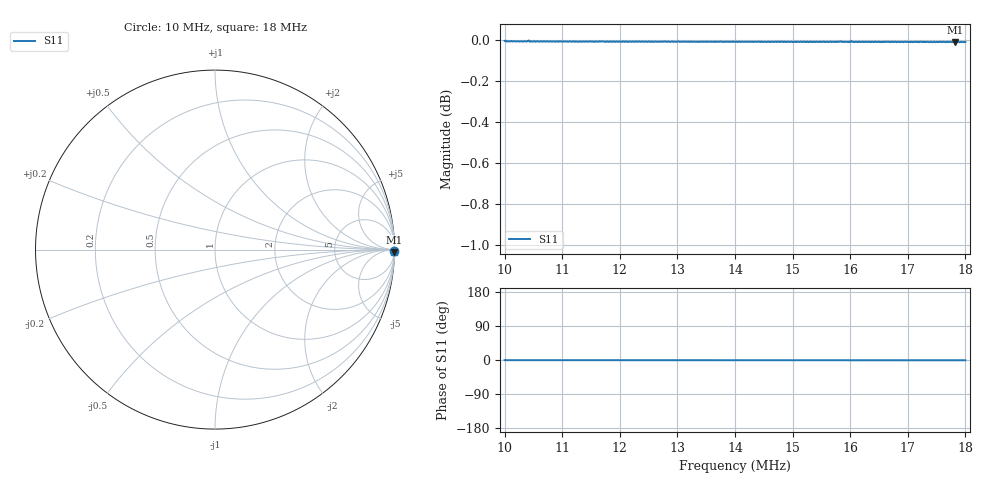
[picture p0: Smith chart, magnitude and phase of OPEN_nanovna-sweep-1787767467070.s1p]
! S11 from OPEN_nanovna-sweep-1787767467070.csv, converted by the rf-network-modeller history importer
# HZ S RI R 50
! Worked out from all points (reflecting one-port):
!   401 points, 10 MHz to 18 MHz, reference 50 ohm
!   lowest |S11| = 0.0 dB at 17.82 MHz (marker M1)
!   phase of S11 starts at -0 deg and turns -0 deg over the sweep
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1e7  0.9992 -0.00716
1.008e7  0.999 -0.00734
1.034e7  0.9991 -0.00725
1.038e7  0.999 -0.00726
1.052e7  0.9991 -0.00752
1.1e7  0.9989 -0.0077
1.158e7  0.999 -0.00808
1.168e7  0.999 -0.00825
1.178e7  0.9989 -0.00848
1.2e7  0.999 -0.00848
1.272e7  0.9988 -0.00894
1.294e7  0.9987 -0.0091
1.3e7  0.9989 -0.00909
1.31e7  0.9987 -0.00932
1.356e7  0.9987 -0.00954
1.378e7  0.9987 -0.00969
1.4e7  0.9987 -0.00986
1.5e7  0.9986 -0.0107
1.56e7  0.9987 -0.0112
1.578e7  0.9986 -0.0114
1.58e7  0.9988 -0.0112
1.594e7  0.9987 -0.0115
1.6e7  0.9986 -0.0116
1.606e7  0.9986 -0.0117
1.61e7  0.9988 -0.0115
1.7e7  0.9988 -0.0122
1.782e7  0.9985 -0.0129
1.8e7  0.9987 -0.013
